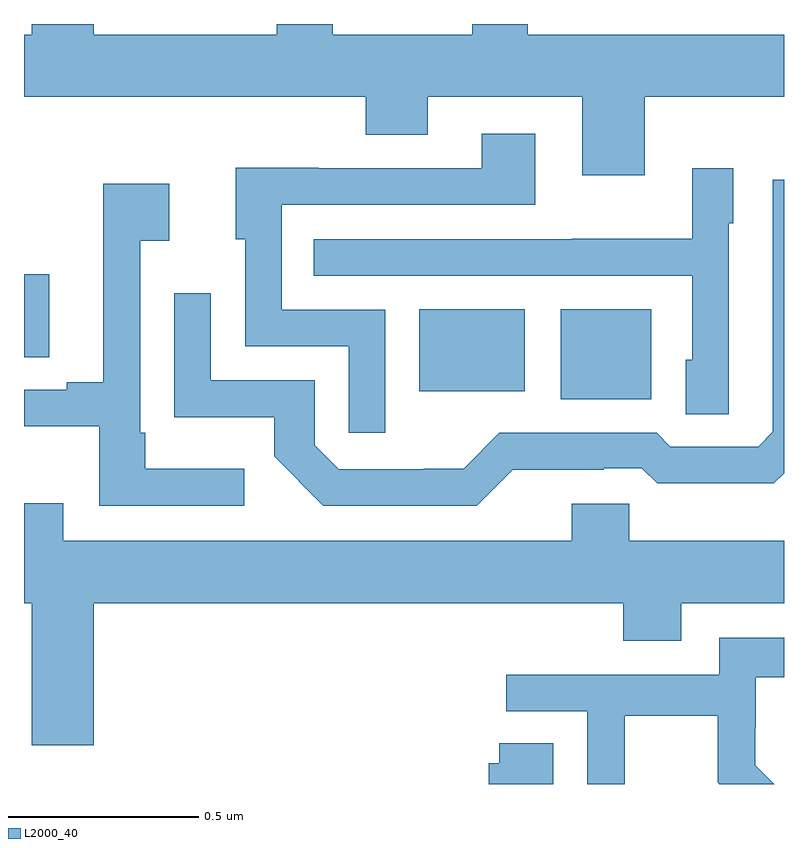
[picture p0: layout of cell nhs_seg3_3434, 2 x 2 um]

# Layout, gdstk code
import gdstk
lib = gdstk.Library(unit=1e-6, precision=1e-09)
def R(c, l, rs):  # rectangles x0, y0, x1, y1
    for r in rs: c.add(gdstk.rectangle(r[:2], r[2:], *l))
def P(c, l, *ps):  # polygons
    for p in ps: c.add(gdstk.Polygon(p, *l))
L2000_40 = (2000, 40)

nhs_seg3_3434 = lib.new_cell('nhs_seg3_3434')
R(nhs_seg3_3434, L2000_40, [(154.412,741.413,154.651,741.649), (154.04,741.434,154.318,741.649), (153,741.523,153.067,741.742)])
P(nhs_seg3_3434, L2000_40, [(153.665,742.4),(153.665,742.372),(153.184,742.372),(153.184,742.4),(153.02,742.4),(153.02,742.372),(153,742.372),(153,742.208),(153.899,742.208),(153.899,742.109),(154.063,742.109),(154.063,742.208),(154.469,742.208),(154.469,742.002),(154.633,742.002),(154.633,742.208),(155,742.208),(155,742.372),(154.326,742.372),(154.326,742.4),(154.18,742.4),(154.18,742.372),(153.813,742.372),(153.813,742.4)],
  [(153.951,741.648),(153.678,741.648),(153.678,741.924),(154.345,741.924),(154.345,742.111),(154.205,742.111),(154.205,742.02),(153.775,742.02),(153.775,742.022),(153.557,742.022),(153.557,741.834),(153.582,741.834),(153.582,741.552),(153.855,741.552),(153.855,741.324),(153.951,741.324)],
  [(154.854,741.876),(154.867,741.876),(154.867,742.021),(154.758,742.021),(154.758,741.835),(154.441,741.835),(154.441,741.834),(153.763,741.834),(153.763,741.738),(154.758,741.738),(154.758,741.516),(154.742,741.516),(154.742,741.373),(154.854,741.373)],
  [(154.286,741.227),(154.526,741.227),(154.526,741.231),(154.626,741.231),(154.666,741.192),(154.973,741.192),(155,741.218),(155,741.99),(154.971,741.99),(154.971,741.327),(154.932,741.288),(154.701,741.288),(154.665,741.324),(154.251,741.324),(154.157,741.23),(154.052,741.23),(154.052,741.228),(153.828,741.228),(153.765,741.291),(153.765,741.462),(153.492,741.462),(153.492,741.691),(153.396,741.691),(153.396,741.365),(153.658,741.365),(153.658,741.263),(153.788,741.132),(154.191,741.132)],
  [(153.58,741.229),(153.319,741.229),(153.319,741.325),(153.306,741.325),(153.306,741.83),(153.382,741.83),(153.382,741.979),(153.209,741.979),(153.209,741.457),(153.113,741.457),(153.113,741.438),(153,741.438),(153,741.341),(153.198,741.341),(153.198,741.132),(153.58,741.132)],
  [(153.184,740.876),(154.577,740.876),(154.577,740.777),(154.729,740.777),(154.729,740.876),(155,740.876),(155,741.04),(154.593,741.04),(154.593,741.138),(154.442,741.138),(154.442,741.04),(153.103,741.04),(153.103,741.139),(153,741.139),(153,740.876),(153.02,740.876),(153.02,740.502),(153.184,740.502)],
  [(154.581,740.58),(154.825,740.58),(154.825,740.405),(154.83,740.4),(154.974,740.4),(154.924,740.45),(154.924,740.547),(154.926,740.547),(154.926,740.681),(155,740.681),(155,740.785),(154.83,740.785),(154.83,740.688),(154.269,740.688),(154.269,740.592),(154.482,740.592),(154.482,740.4),(154.581,740.4)],
  [(154.393,740.507),(154.25,740.507),(154.25,740.454),(154.223,740.454),(154.223,740.4),(154.393,740.4)])

lib.write_gds('nhs_seg3_3434.gds')
